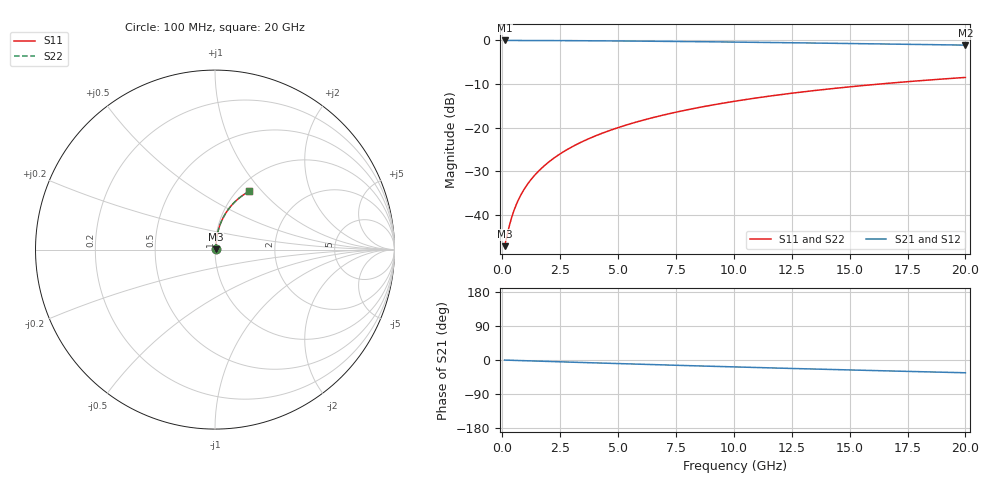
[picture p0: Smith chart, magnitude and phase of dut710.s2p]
! Touchstone file exported from HFSS 2024.1.0
!  File:  C:/UserFiles/LocalFiles/RDL_TSV_Batchsim/temp_RDL_top_710_1779850145.aedt
!  Generated:  10:51:45 AM May 27, 2026
!  Design:  RDL_top
!  Project:  temp_RDL_top_710_1779850145
!  Setup:  Setup1
!  Solution:  Sweep
! Variables:
!  dtsv = 10.80580581um
!  hbump = 3um
!  htsv = 97.91um
!  ldown = 100um
!  lrdl = 424.39um
!  p = 40
!  p1 = 46.63um
!  rhole = 1um
!  t = 450um
!  tdown = 3.915915916um
!  trdl = 2.73um
!  wdown = 15.38538539um
!  wrdl = 15.08um
# GHz S MA R 50.000000
! Terminal data exported
! Port[1] = Box2_T1
! Port[2] = Box2_T2
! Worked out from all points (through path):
!   200 points, 100 MHz to 20 GHz, reference 50 ohm
!   highest |S21| = -0.03 dB at 100 MHz (marker M1); lowest = -1.1 dB at 20 GHz (marker M2)
!   group delay of S21, straight-line fit = 4.67 ps
!   lowest |S11| = -47.2 dB at 100 MHz (marker M3), VSWR 1.01, Z = 50.4 + j0.212 ohm
!   |S11| at or under -10 dB: start of sweep to 16.34 GHz
!   |S22| runs from -47.2 to -8.5 dB; largest |S21 - S12| = 4.4e-15
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0.1  0.004366 28.8  0.9962 -0.2  0.9962 -0.2  0.004366 28.8
! Gamma 0 0 0 0
! Port Impedance 50 0 50 0
0.3  0.007411 57.4  0.996 -0.6  0.996 -0.6  0.007411 57.4
0.4  0.009237 63.6  0.9959 -0.8  0.9959 -0.8  0.009237 63.6
0.5  0.01112 67.6  0.9957 -1.0  0.9957 -1.0  0.01112 67.6
0.6  0.01301 70.4  0.9956 -1.2  0.9956 -1.2  0.01301 70.4
0.7  0.01492 72.5  0.9955 -1.4  0.9955 -1.4  0.01492 72.5
0.9  0.01875 75.4  0.9952 -1.8  0.9952 -1.8  0.01875 75.4
1.2  0.02454 78.0  0.9947 -2.3  0.9947 -2.3  0.02454 78.0
1.4  0.02841 79.1  0.9944 -2.7  0.9944 -2.7  0.02841 79.1
1.7  0.03426 80.2  0.9939 -3.3  0.9939 -3.3  0.03426 80.2
2.2  0.04406 81.2  0.9929 -4.2  0.9929 -4.2  0.04406 81.2
2.8  0.0559 81.7  0.9914 -5.4  0.9914 -5.4  0.0559 81.7
3.5  0.0698 81.7  0.9892 -6.7  0.9892 -6.7  0.0698 81.7
4.2  0.08377 81.4  0.9867 -8.0  0.9867 -8.0  0.08377 81.4
5  0.0998 80.8  0.9834 -9.5  0.9834 -9.5  0.0998 80.8
5.9  0.1179 79.9  0.9791 -11.1  0.9791 -11.1  0.1179 79.9
6.8  0.1359 78.9  0.9744 -12.7  0.9744 -12.7  0.136 78.9
8.4  0.1679 76.8  0.9652 -15.5  0.9652 -15.5  0.1679 76.8
10.1  0.2015 74.4  0.9543 -18.4  0.9543 -18.4  0.2015 74.4
13.4  0.2641 69.4  0.9312 -23.8  0.9312 -23.8  0.2641 69.4
16.7  0.3223 64.5  0.9063 -28.9  0.9063 -28.9  0.3223 64.5
20  0.3753 59.7  0.8806 -33.7  0.8806 -33.7  0.3753 59.7
